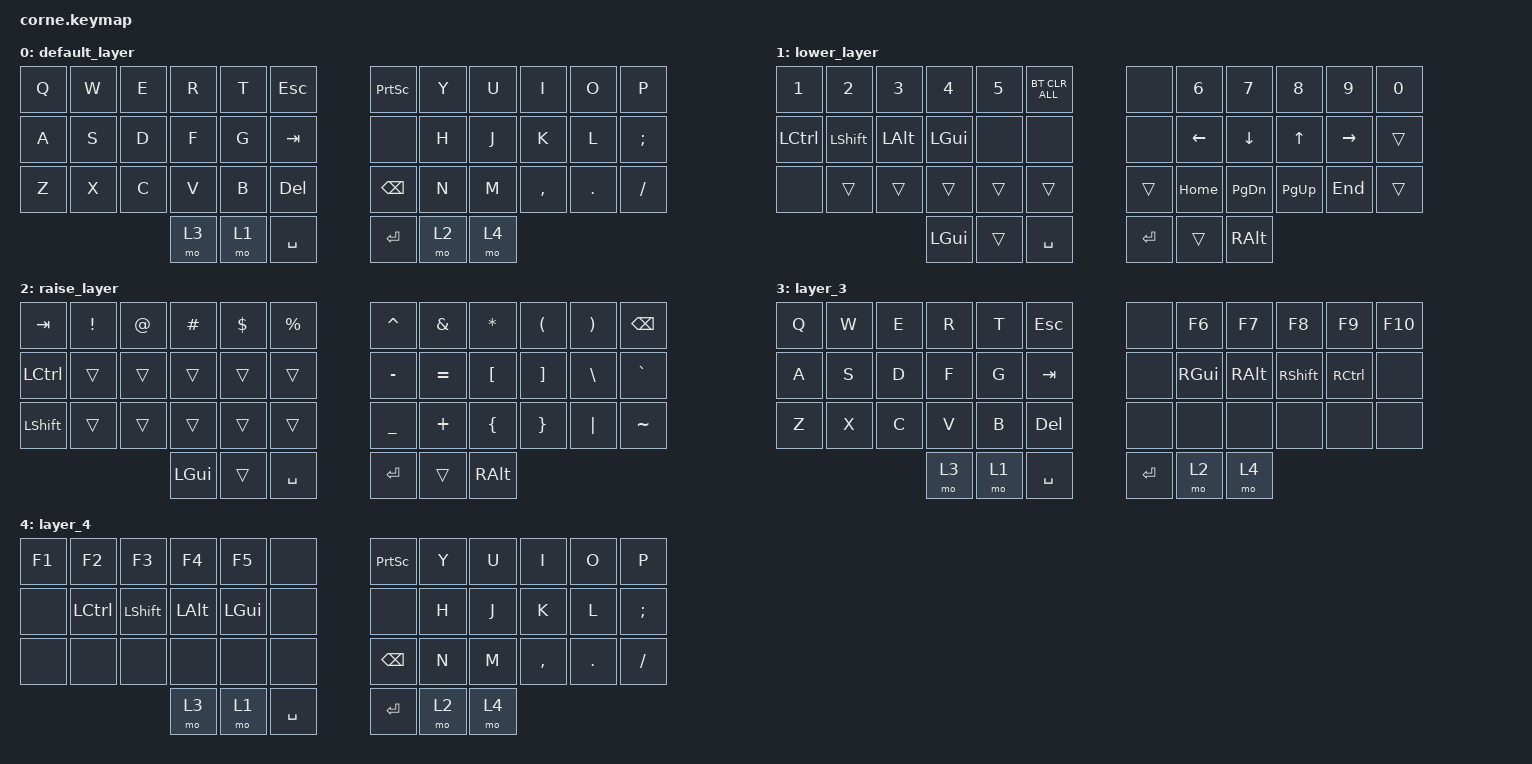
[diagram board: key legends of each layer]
/*
 * Copyright (c) 2020 The ZMK Contributors
 *
 * SPDX-License-Identifier: MIT
 */

#include <behaviors.dtsi>
#include <dt-bindings/zmk/bt.h>
#include <dt-bindings/zmk/keys.h>

/ {
    keymap {
        compatible = "zmk,keymap";

        default_layer {
            // -----------------------------------------------------------------------------------------
            // |  TAB |  Q  |  W  |  E  |  R  |  T  |   |  Y  |  U   |  I  |  O  |  P  | BKSP |
            // | CTRL |  A  |  S  |  D  |  F  |  G  |   |  H  |  J   |  K  |  L  |  ;  |  '   |
            // | SHFT |  Z  |  X  |  C  |  V  |  B  |   |  N  |  M   |  ,  |  .  |  /  | ESC  |
            //                    | GUI | LWR | SPC |   | ENT | RSE  | ALT |

            bindings = <
&kp Q  &kp W  &kp E  &kp R  &kp T  &kp ESC      &kp PRINTSCREEN  &kp Y  &kp U  &kp I      &kp O       &kp P
&kp A  &kp S  &kp D  &kp F  &kp G  &kp TAB      &none            &kp H  &kp J  &kp K      &kp L       &kp SEMICOLON
&kp Z  &kp X  &kp C  &kp V  &kp B  &kp DEL      &kp BACKSPACE    &kp N  &kp M  &kp COMMA  &kp PERIOD  &kp SLASH
                     &mo 3  &mo 1  &kp SPACE    &kp ENTER        &mo 2  &mo 4
            >;
        };

        lower_layer {
            // -----------------------------------------------------------------------------------------
            // |  TAB |  1  |  2  |  3  |  4  |  5  |   |  6  |  7  |  8  |  9  |  0  | BKSP |
            // | BTCLR| BT1 | BT2 | BT3 | BT4 | BT5 |   | LFT | DWN |  UP | RGT |     |      |
            // | SHFT |     |     |     |     |     |   |     |     |     |     |     |      |
            //                    | GUI |     | SPC |   | ENT |     | ALT |

            bindings = <
&kp NUMBER_1  &kp NUMBER_2    &kp NUMBER_3  &kp NUMBER_4  &kp N5  &bt BT_CLR_ALL    &none    &kp NUMBER_6    &kp N7          &kp N8        &kp N9           &kp N0
&kp LCTRL     &kp LEFT_SHIFT  &kp LEFT_ALT  &kp LEFT_GUI  &none   &none             &none    &kp LEFT_ARROW  &kp DOWN_ARROW  &kp UP_ARROW  &kp RIGHT_ARROW  &trans
&none         &trans          &trans        &trans        &trans  &trans            &trans   &kp HOME        &kp PAGE_DOWN   &kp PAGE_UP   &kp END          &trans
                                            &kp LGUI      &trans  &kp SPACE         &kp RET  &trans          &kp RALT
            >;
        };

        raise_layer {
            // -----------------------------------------------------------------------------------------
            // |  TAB |  !  |  @  |  #  |  $  |  %  |   |  ^  |  &  |  *  |  (  |  )  | BKSP |
            // | CTRL |     |     |     |     |     |   |  -  |  =  |  [  |  ]  |  \  |  `   |
            // | SHFT |     |     |     |     |     |   |  _  |  +  |  {  |  }  | "|" |  ~   |
            //                    | GUI |     | SPC |   | ENT |     | ALT |

            bindings = <
&kp TAB    &kp EXCL  &kp AT  &kp HASH  &kp DLLR  &kp PRCNT    &kp CARET  &kp AMPS   &kp ASTRK  &kp LPAR  &kp RPAR  &kp BSPC
&kp LCTRL  &trans    &trans  &trans    &trans    &trans       &kp MINUS  &kp EQUAL  &kp LBKT   &kp RBKT  &kp BSLH  &kp GRAVE
&kp LSHFT  &trans    &trans  &trans    &trans    &trans       &kp UNDER  &kp PLUS   &kp LBRC   &kp RBRC  &kp PIPE  &kp TILDE
                             &kp LGUI  &trans    &kp SPACE    &kp RET    &trans     &kp RALT
            >;
        };

        layer_3 {
            bindings = <
&kp Q  &kp W  &kp E  &kp R  &kp T  &kp ESC      &none      &kp F6    &kp F7         &kp F8     &kp F9     &kp F10
&kp A  &kp S  &kp D  &kp F  &kp G  &kp TAB      &none      &kp RGUI  &kp RIGHT_ALT  &kp RSHFT  &kp RCTRL  &none
&kp Z  &kp X  &kp C  &kp V  &kp B  &kp DEL      &none      &none     &none          &none      &none      &none
                     &mo 3  &mo 1  &kp SPACE    &kp ENTER  &mo 2     &mo 4
            >;
        };

        layer_4 {
            bindings = <
&kp F1  &kp F2            &kp F3      &kp F4    &kp F5    &none        &kp PRINTSCREEN  &kp Y  &kp U  &kp I      &kp O       &kp P
&none   &kp LEFT_CONTROL  &kp LSHIFT  &kp LALT  &kp LGUI  &none        &none            &kp H  &kp J  &kp K      &kp L       &kp SEMICOLON
&none   &none             &none       &none     &none     &none        &kp BACKSPACE    &kp N  &kp M  &kp COMMA  &kp PERIOD  &kp SLASH
                                      &mo 3     &mo 1     &kp SPACE    &kp ENTER        &mo 2  &mo 4
            >;
        };
    };
};
